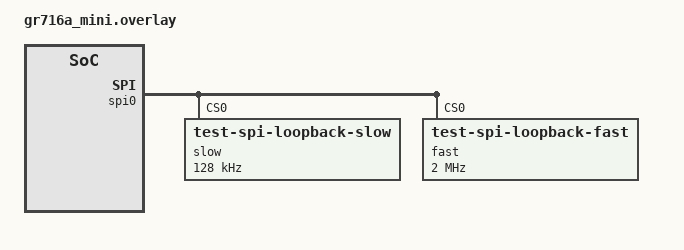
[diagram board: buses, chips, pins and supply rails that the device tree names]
/*
 * Copyright (c) 2025 Frontgrade Gaisler AB
 *
 * SPDX-License-Identifier: Apache-2.0
 */

&spi0 {
	status = "okay";
	cs-output = <0>;
	slow@0 {
		compatible = "test-spi-loopback-slow";
		reg = <0>;
		spi-max-frequency = <128000>;
	};
	fast@0 {
		compatible = "test-spi-loopback-fast";
		reg = <0>;
		spi-max-frequency = <2000000>;
	};
};
